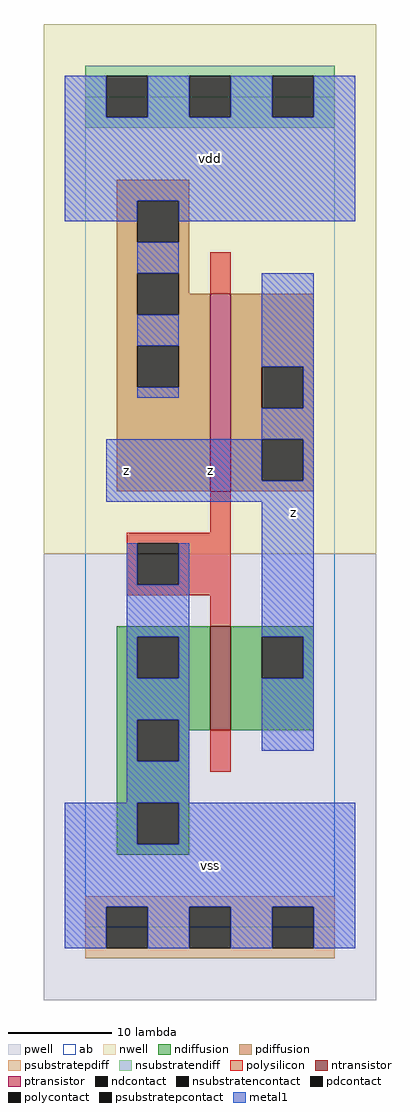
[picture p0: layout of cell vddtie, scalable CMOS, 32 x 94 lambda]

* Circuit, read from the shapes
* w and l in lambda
.subckt vddtie vdd vss z
M1 z vss vss vss nfet w=10 l=2
M2 z vss vdd vdd pfet w=19 l=2
.ends

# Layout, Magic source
magic
tech scmos
<< ab >>
rect 0 0 24 80
<< pwell >>
rect -4 -7 28 36
<< nwell >>
rect -4 36 28 87
<< polysilicon >>
rect 12 61 14 65
rect 12 38 14 42
rect 4 37 14 38
rect 4 33 5 37
rect 9 33 14 37
rect 4 32 14 33
rect 12 29 14 32
rect 12 15 14 19
<< ndiffusion >>
rect 3 28 12 29
rect 3 24 5 28
rect 9 24 12 28
rect 3 20 12 24
rect 3 16 5 20
rect 9 19 12 20
rect 14 28 22 29
rect 14 24 17 28
rect 21 24 22 28
rect 14 19 22 24
rect 9 16 10 19
rect 3 12 10 16
rect 3 8 5 12
rect 9 8 10 12
rect 3 7 10 8
<< pdiffusion >>
rect 3 70 10 72
rect 3 66 5 70
rect 9 66 10 70
rect 3 63 10 66
rect 3 59 5 63
rect 9 61 10 63
rect 9 59 12 61
rect 3 56 12 59
rect 3 52 5 56
rect 9 52 12 56
rect 3 42 12 52
rect 14 54 22 61
rect 14 50 17 54
rect 21 50 22 54
rect 14 47 22 50
rect 14 43 17 47
rect 21 43 22 47
rect 14 42 22 43
<< metal1 >>
rect -2 78 2 82
rect 6 78 10 82
rect 14 78 18 82
rect 22 78 26 82
rect -2 70 26 78
rect -2 68 5 70
rect 9 68 26 70
rect 5 63 9 66
rect 5 56 9 59
rect 5 51 9 52
rect 17 54 22 63
rect 21 50 22 54
rect 17 47 22 50
rect 2 43 17 47
rect 21 43 22 47
rect 2 41 22 43
rect 4 33 5 37
rect 9 33 10 37
rect 4 28 10 33
rect 4 24 5 28
rect 9 24 10 28
rect 4 20 10 24
rect 4 16 5 20
rect 9 16 10 20
rect 17 28 22 41
rect 21 24 22 28
rect 17 17 22 24
rect 4 12 10 16
rect -2 8 5 12
rect 9 8 26 12
rect -2 2 26 8
rect -2 -2 2 2
rect 6 -2 10 2
rect 14 -2 18 2
rect 22 -2 26 2
<< ntransistor >>
rect 12 19 14 29
<< ptransistor >>
rect 12 42 14 61
<< polycontact >>
rect 5 33 9 37
<< ndcontact >>
rect 5 24 9 28
rect 5 16 9 20
rect 17 24 21 28
rect 5 8 9 12
<< pdcontact >>
rect 5 66 9 70
rect 5 59 9 63
rect 5 52 9 56
rect 17 50 21 54
rect 17 43 21 47
<< psubstratepcontact >>
rect 2 -2 6 2
rect 10 -2 14 2
rect 18 -2 22 2
<< nsubstratencontact >>
rect 2 78 6 82
rect 10 78 14 82
rect 18 78 22 82
<< psubstratepdiff >>
rect 0 2 24 3
rect 0 -2 2 2
rect 6 -2 10 2
rect 14 -2 18 2
rect 22 -2 24 2
rect 0 -3 24 -2
<< nsubstratendiff >>
rect 0 82 24 83
rect 0 78 2 82
rect 6 78 10 82
rect 14 78 18 82
rect 22 78 24 82
rect 0 77 24 78
<< labels >>
rlabel metal1 4 44 4 44 6 z
rlabel metal1 12 6 12 6 6 vss
rlabel metal1 12 44 12 44 6 z
rlabel metal1 12 74 12 74 6 vdd
rlabel metal1 20 40 20 40 6 z
<< end >>
